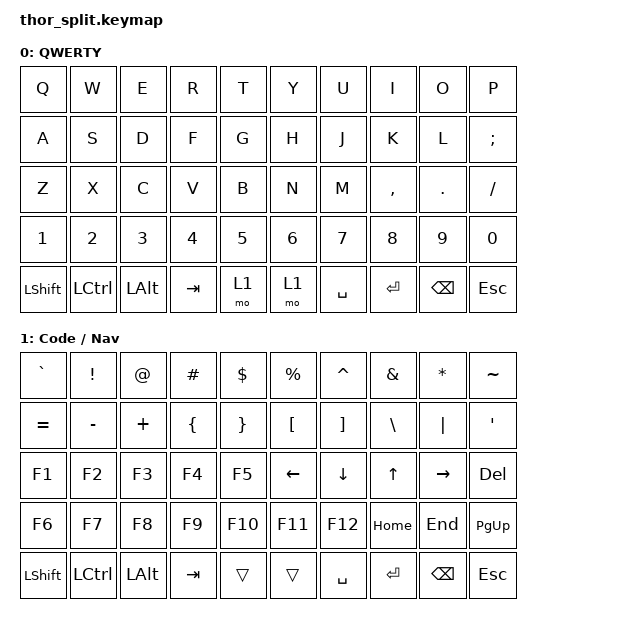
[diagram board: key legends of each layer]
#include <behaviors.dtsi>
#include <dt-bindings/zmk/keys.h>

#define BASE 0
#define CODE 1

/ {
    keymap {
        compatible = "zmk,keymap";
        default_layer {
            display-name = "QWERTY";
            bindings = <
            &kp Q &kp W &kp E &kp R &kp T &kp Y &kp U &kp I &kp O &kp P
            &kp A &kp S &kp D &kp F &kp G &kp H &kp J &kp K &kp L &kp SEMI
            &kp Z &kp X &kp C &kp V &kp B &kp N &kp M &kp COMMA &kp DOT &kp FSLH
            &kp N1 &kp N2 &kp N3 &kp N4 &kp N5 &kp N6 &kp N7 &kp N8 &kp N9 &kp N0
            &kp LSHFT &kp LCTRL &kp LALT &kp TAB &mo 1 &mo 1 &kp SPACE &kp RET &kp BSPC &kp ESC
            >;
        };
        code_layer {
            display-name = "Code / Nav";
            bindings = <
            &kp GRAVE &kp EXCL &kp AT &kp HASH &kp DLLR &kp PRCNT &kp CARET &kp AMPS &kp ASTRK &kp TILDE
            &kp EQUAL &kp MINUS &kp PLUS &kp LBRC &kp RBRC &kp LBKT &kp RBKT &kp BSLH &kp PIPE &kp SQT
            &kp F1 &kp F2 &kp F3 &kp F4 &kp F5 &kp LEFT &kp DOWN &kp UP &kp RIGHT &kp DEL
            &kp F6 &kp F7 &kp F8 &kp F9 &kp F10 &kp F11 &kp F12 &kp HOME &kp END &kp PG_UP
            &kp LSHFT &kp LCTRL &kp LALT &kp TAB &trans &trans &kp SPACE &kp RET &kp BSPC &kp ESC
            >;
        };
    };
};
